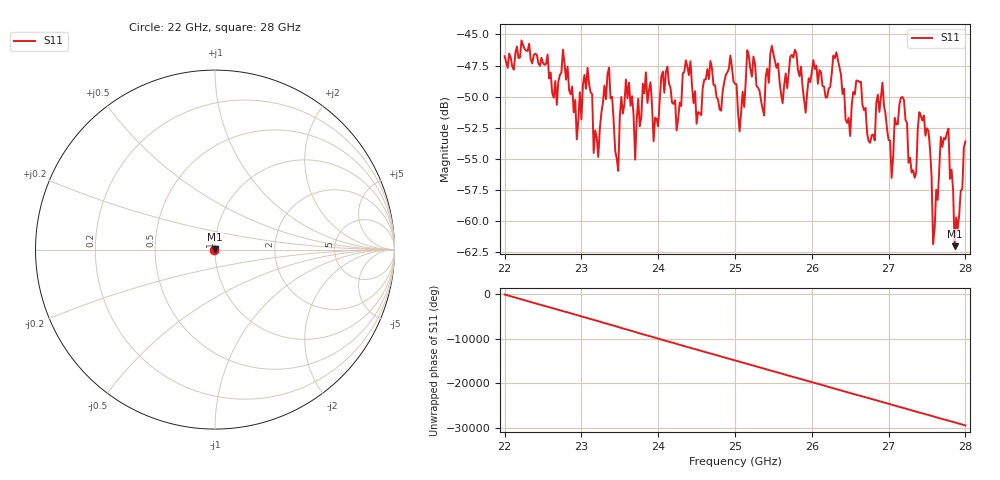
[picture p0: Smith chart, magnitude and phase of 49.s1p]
#  HZ  S  RI  R  50.00
! Rohde & Schwarz ZVA40 4Ports - Version 3.90 - 1145.1110k42 SN: 100403
! Date: 2023-10-04 06:25:06
! Measurement: S12
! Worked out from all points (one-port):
!   301 points, 22 GHz to 28 GHz, reference 50 ohm
!   lowest |S11| = -62.0 dB at 27.86 GHz (marker M1), VSWR 1.00, Z = 50 + j0.0771 ohm
!   |S11| at or under -10 dB: start of sweep to end of sweep
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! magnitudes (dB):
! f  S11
! 22 GHz  -46.7
! 22.68 GHz  -50.7
! 22.76 GHz  -46.2
! 22.94 GHz  -53.4
! 23.08 GHz  -47.7
! 23.16 GHz  -54.5
! 23.36 GHz  -47.7
! 23.48 GHz  -55.9
! 23.5 GHz  -51.6
! 24.12 GHz  -47.6
! 24.26 GHz  -51.8
! 24.36 GHz  -47.1
! 24.5 GHz  -52.2
! 25 GHz  -49.0
! 25.76 GHz  -46.9
! 25.92 GHz  -51.3
! 26.32 GHz  -46.4
! 26.5 GHz  -53.2
! 26.92 GHz  -48.9
! 27.04 GHz  -56.5
! 27.16 GHz  -50.1
! 27.26 GHz  -55.3
! 27.46 GHz  -51.5
! 27.54 GHz  -54.2
! 27.58 GHz  -61.8
! 27.78 GHz  -52.6
! 27.86 GHz  -62.0
! 28 GHz  -53.6
